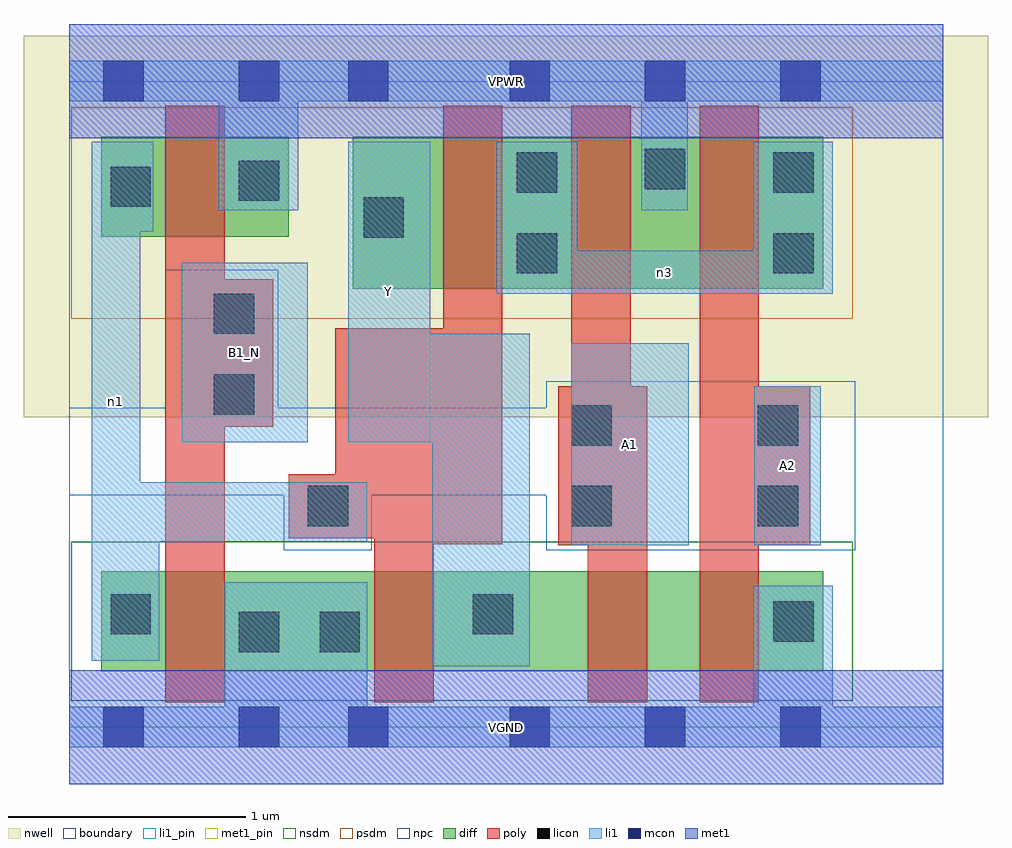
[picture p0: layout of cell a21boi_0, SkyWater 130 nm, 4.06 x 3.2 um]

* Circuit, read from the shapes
.subckt a21boi_0 A1 A2 B1_N VGND VPWR Y n1 n3
XM1 VGND B1_N n1 VSUBS sky130_fd_pr__nfet_01v8 w=0.42 l=0.25
XM2 Y n1 VGND VSUBS sky130_fd_pr__nfet_01v8 w=0.42 l=0.25
XM3 n2 A1 Y VSUBS sky130_fd_pr__nfet_01v8 w=0.42 l=0.25
XM4 VGND A2 n2 VSUBS sky130_fd_pr__nfet_01v8 w=0.42 l=0.25
XM5 VPWR B1_N n1 n4 sky130_fd_pr__pfet_01v8 w=0.42 l=0.25
XM6 n3 n1 Y n4 sky130_fd_pr__pfet_01v8 w=0.64 l=0.25
XM7 VPWR A1 n3 n4 sky130_fd_pr__pfet_01v8 w=0.64 l=0.25
XM8 n3 A2 VPWR n4 sky130_fd_pr__pfet_01v8 w=0.64 l=0.25
.ends

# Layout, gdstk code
import gdstk
lib = gdstk.Library(unit=1e-6, precision=1e-09)
def R(c, l, rs):  # rectangles x0, y0, x1, y1
    for r in rs: c.add(gdstk.rectangle(r[:2], r[2:], *l))
def A(c, l, x, y, w, h, nx, ny, dx, dy):  # array of equal rectangles
    R(c, l, [(x+i*dx, y+j*dy, x+i*dx+w, y+j*dy+h) for i in range(nx) for j in range(ny)])
nwell = (64, 20)
diff = (65, 20)
poly = (66, 20)
licon = (66, 44)
li1_pin = (67, 16)
li1 = (67, 20)
mcon = (67, 44)
met1_pin = (68, 16)
met1 = (68, 20)
nsdm = (93, 44)
psdm = (94, 20)
npc = (95, 20)
boundary = (235, 4)

a21boi_0 = lib.new_cell('a21boi_0')
R(a21boi_0, nwell, [(-0.19,1.305,3.87,2.91), (0,1.305,3.68,2.91)])
R(a21boi_0, diff, [(0.135,0.235,3.175,0.655), (1.195,1.845,3.175,2.485), (0.135,2.065,0.925,2.485)])
R(a21boi_0, poly, [(0.405,0.105,0.655,2.615), (1.285,0.105,1.535,1.68), (2.185,0.105,2.365,2.615), (2.185,0.105,2.435,1.435), (2.655,0.105,2.905,2.615), (2.06,0.765,2.435,1.435), (2.115,0.765,2.185,2.615), (2.655,0.765,3.12,1.435), (1.285,0.77,1.825,1.68), (1.575,0.77,1.825,2.615), (0.925,0.795,1.825,1.065), (1.12,1.065,1.825,1.68), (0.405,1.265,0.86,1.885)])
R(a21boi_0, licon, [(0.715,0.315,0.885,0.485), (1.055,0.315,1.225,0.485), (2.965,0.36,3.135,0.53), (0.175,0.39,0.345,0.56), (1.7,0.39,1.87,0.56), (1.005,0.845,1.175,1.015), (2.115,0.845,2.285,1.015), (2.9,0.845,3.07,1.015), (2.115,1.185,2.285,1.355), (2.9,1.185,3.07,1.355), (0.61,1.315,0.78,1.485), (0.61,1.655,0.78,1.825), (1.885,1.91,2.055,2.08), (2.965,1.91,3.135,2.08), (1.24,2.06,1.41,2.23), (0.175,2.19,0.345,2.36), (0.715,2.215,0.885,2.385), (1.885,2.25,2.055,2.42), (2.965,2.25,3.135,2.42), (2.425,2.265,2.595,2.435)])
R(a21boi_0, li1_pin, [(2.115,0.765,2.61,1.615), (2.885,0.765,3.165,1.435), (0.475,1.2,1.005,1.955), (1.175,1.2,1.52,2.465)])
R(a21boi_0, li1, [(0,-0.085,3.68,0.085), (0.655,-0.085,1.255,0.61), (2.88,-0.085,3.215,0.595), (1.53,0.255,1.94,1.655), (0.095,0.28,0.3,2.465), (0.095,0.28,0.38,1.03), (2.115,0.765,2.61,1.615), (2.885,0.765,3.165,1.435), (0.095,0.78,1.255,1.03), (0.475,1.2,1.005,1.955), (1.175,1.2,1.52,2.465), (1.175,1.2,1.94,1.655), (1.8,1.825,3.215,2.005), (1.8,1.825,2.14,2.465), (2.88,1.825,3.215,2.465), (0.095,2.085,0.355,2.465), (0.63,2.175,0.965,2.805), (2.41,2.175,2.605,2.805), (0,2.635,3.68,2.805)])
A(a21boi_0, mcon, 1.855, -0.085, 0.17, 0.17, 3, 2, 0.57, 2.72)
R(a21boi_0, mcon, [(0.145,-0.085,0.315,0.085), (0.715,-0.085,0.885,0.085), (1.175,-0.085,1.345,0.085), (0.145,2.635,0.315,2.805), (0.715,2.635,0.885,2.805), (1.175,2.635,1.345,2.805)])
R(a21boi_0, met1_pin, [(0,-0.24,3.68,0.24), (0,2.48,3.68,2.96)])
R(a21boi_0, met1, [(0,-0.24,3.68,0.24), (0,2.48,3.68,2.96)])
R(a21boi_0, nsdm, [(0.01,0.11,3.3,0.78)])
R(a21boi_0, psdm, [(0.01,1.72,3.3,2.61)])
R(a21boi_0, npc, [(0.905,0.745,1.275,1.345), (2.01,0.745,3.31,1.455), (0,0.975,3.31,1.345), (0.405,0.975,0.88,1.925)])
R(a21boi_0, boundary, [(0,0,3.68,2.72)])
a21boi_0.add(gdstk.Label('A1', (2.362,1.19), layer=67, texttype=5))
a21boi_0.add(gdstk.Label('A2', (3.025,1.1), layer=67, texttype=5))
a21boi_0.add(gdstk.Label('B1_N', (0.74,1.577), layer=67, texttype=5))
a21boi_0.add(gdstk.Label('Y', (1.347,1.832), layer=67, texttype=5))
a21boi_0.add(gdstk.Label('n1', (0.197,1.372), layer=67, texttype=5))
a21boi_0.add(gdstk.Label('n3', (2.507,1.915), layer=67, texttype=5))
a21boi_0.add(gdstk.Label('VPWR', (1.84,2.72), layer=68, texttype=5))
a21boi_0.add(gdstk.Label('VGND', (1.84,0), layer=68, texttype=5))
a21boi_0.add(gdstk.Label('A1', (2.362,1.19), layer=67, texttype=16))
a21boi_0.add(gdstk.Label('A2', (3.025,1.1), layer=67, texttype=16))
a21boi_0.add(gdstk.Label('B1_N', (0.74,1.577), layer=67, texttype=16))
a21boi_0.add(gdstk.Label('Y', (1.347,1.832), layer=67, texttype=16))
a21boi_0.add(gdstk.Label('VPWR', (1.84,2.72), layer=68, texttype=16))
a21boi_0.add(gdstk.Label('VGND', (1.84,0), layer=68, texttype=16))

lib.write_gds('a21boi_0.gds')
